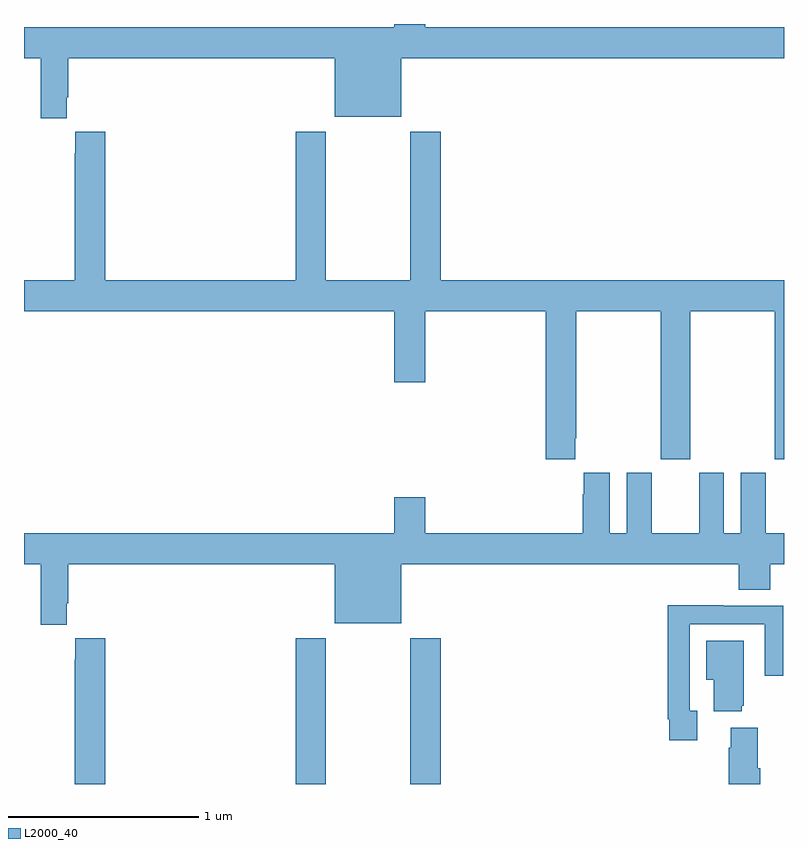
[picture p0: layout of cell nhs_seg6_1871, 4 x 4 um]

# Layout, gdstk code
import gdstk
lib = gdstk.Library(unit=1e-6, precision=1e-09)
def R(c, l, rs):  # rectangles x0, y0, x1, y1
    for r in rs: c.add(gdstk.rectangle(r[:2], r[2:], *l))
def P(c, l, *ps):  # polygons
    for p in ps: c.add(gdstk.Polygon(p, *l))
L2000_40 = (2000, 40)

nhs_seg6_1871 = lib.new_cell('nhs_seg6_1871')
R(nhs_seg6_1871, L2000_40, [(224.429,959.5,224.589,960.268), (225.034,959.5,225.194,960.268)])
P(nhs_seg6_1871, L2000_40, [(223.225,963.115),(223.232,963.115),(223.232,963.32),(224.636,963.32),(224.636,963.011),(224.986,963.011),(224.986,963.32),(227,963.32),(227,963.484),(225.112,963.484),(225.112,963.5),(224.948,963.5),(224.948,963.484),(223,963.484),(223,963.32),(223.088,963.32),(223.088,963.003),(223.225,963.003)],
  [(225.901,961.321),(225.906,961.321),(225.906,961.988),(226.351,961.988),(226.351,961.209),(226.506,961.209),(226.506,961.988),(226.951,961.988),(226.951,961.209),(227,961.209),(227,962.152),(225.194,962.152),(225.194,962.932),(225.034,962.932),(225.034,962.152),(224.589,962.152),(224.589,962.932),(224.429,962.932),(224.429,962.152),(223.427,962.152),(223.427,962.932),(223.271,962.932),(223.271,962.819),(223.267,962.819),(223.267,962.152),(223,962.152),(223,961.988),(224.948,961.988),(224.948,961.614),(225.112,961.614),(225.112,961.988),(225.746,961.988),(225.746,961.209),(225.901,961.209)],
  [(223.225,960.451),(223.232,960.451),(223.232,960.656),(224.636,960.656),(224.636,960.347),(224.986,960.347),(224.986,960.656),(226.763,960.656),(226.763,960.523),(226.928,960.523),(226.928,960.656),(227,960.656),(227,960.82),(226.903,960.82),(226.903,961.138),(226.772,961.138),(226.772,960.82),(226.684,960.82),(226.684,961.138),(226.553,961.138),(226.553,960.82),(226.303,960.82),(226.303,961.138),(226.172,961.138),(226.172,960.82),(226.084,960.82),(226.084,961.138),(225.947,961.138),(225.947,961.025),(225.941,961.025),(225.941,960.82),(225.112,960.82),(225.112,961.009),(224.948,961.009),(224.948,960.82),(223,960.82),(223,960.656),(223.088,960.656),(223.088,960.339),(223.225,960.339)],
  [(226.543,959.886),(226.503,959.886),(226.503,960.342),(226.899,960.342),(226.899,960.069),(226.995,960.069),(226.995,960.438),(226.679,960.438),(226.679,960.44),(226.387,960.44),(226.387,959.842),(226.395,959.842),(226.395,959.73),(226.543,959.73)],
  [(223.427,960.268),(223.271,960.268),(223.271,960.155),(223.267,960.155),(223.267,959.5),(223.427,959.5)],
  [(226.778,959.913),(226.789,959.913),(226.789,960.253),(226.592,960.253),(226.592,960.05),(226.631,960.05),(226.631,959.882),(226.778,959.882)],
  [(226.874,959.584),(226.861,959.584),(226.861,959.797),(226.721,959.797),(226.721,959.69),(226.709,959.69),(226.709,959.5),(226.874,959.5)])

lib.write_gds('nhs_seg6_1871.gds')
